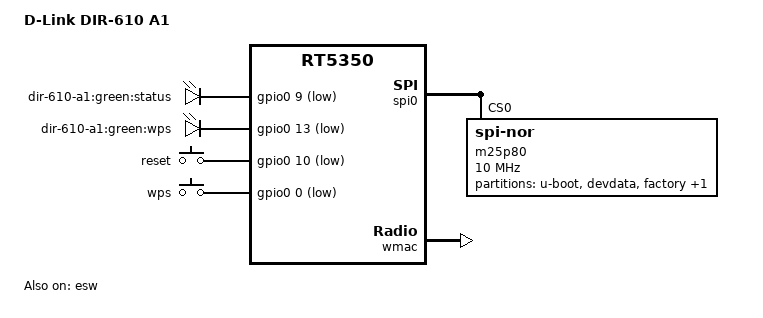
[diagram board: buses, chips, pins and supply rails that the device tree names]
/dts-v1/;

#include "rt5350.dtsi"

#include <dt-bindings/gpio/gpio.h>
#include <dt-bindings/input/input.h>

/ {
	compatible = "dlink,dir-610-a1", "ralink,rt5350-soc";
	model = "D-Link DIR-610 A1";

	aliases {
		led-boot = &led_status;
		led-failsafe = &led_status;
		led-running = &led_status;
		led-upgrade = &led_status;
	};

	gpio-leds {
		compatible = "gpio-leds";

		led_status: status {
			label = "dir-610-a1:green:status";
			gpios = <&gpio0 9 GPIO_ACTIVE_LOW>;
		};

		wps {
			label = "dir-610-a1:green:wps";
			gpios = <&gpio0 13 GPIO_ACTIVE_LOW>;
		};
	};

	gpio-keys-polled {
		compatible = "gpio-keys-polled";
		poll-interval = <20>;

		reset {
			label = "reset";
			gpios = <&gpio0 10 GPIO_ACTIVE_LOW>;
			linux,code = <KEY_RESTART>;
		};

		wps {
			label = "wps";
			gpios = <&gpio0 0 GPIO_ACTIVE_LOW>;
			linux,code = <KEY_WPS_BUTTON>;
		};
	};
};

&spi0 {
	status = "okay";

	m25p80@0 {
		compatible = "jedec,spi-nor";
		reg = <0>;
		spi-max-frequency = <10000000>;

		partitions {
			compatible = "fixed-partitions";
			#address-cells = <1>;
			#size-cells = <1>;

			partition@0 {
				label = "u-boot";
				reg = <0x0 0x30000>;
				read-only;
			};

			devdata: partition@30000 {
				label = "devdata";
				reg = <0x30000 0x10000>;
				read-only;
			};

			factory: partition@40000 {
				label = "factory";
				reg = <0x40000 0x10000>;
				read-only;
			};

			partition@50000 {
				compatible = "seama";
				label = "firmware";
				reg = <0x50000 0x3b0000>;
			};
		};
	};
};

&pinctrl {
	state_default: pinctrl0 {
		gpio {
			ralink,group = "i2c", "jtag", "uartf";
			ralink,function = "gpio";
		};
	};
};

&ethernet {
	mtd-mac-address = <&devdata 0x4004>;
};

&esw {
	status = "okay";
	mediatek,portmap = <0x2f>;
	mediatek,led_polarity = <0x17>;
};

&wmac {
	status = "okay";
	ralink,led-polarity = <1>;
	ralink,mtd-eeprom = <&devdata 0x4000>;
};
